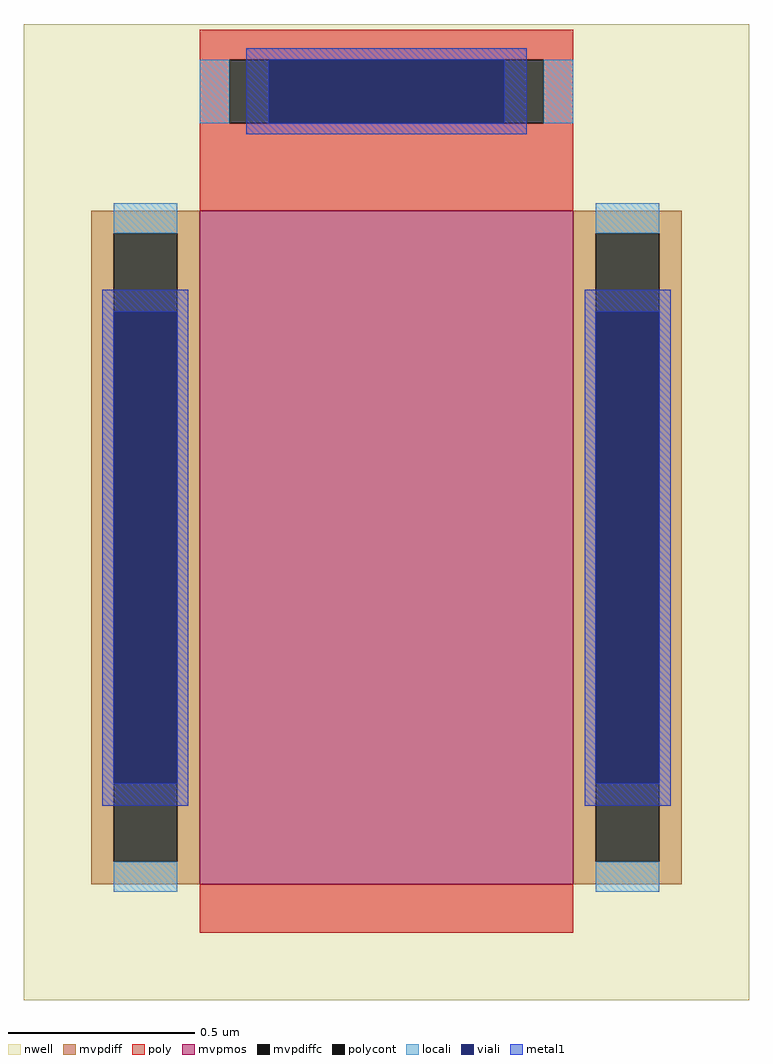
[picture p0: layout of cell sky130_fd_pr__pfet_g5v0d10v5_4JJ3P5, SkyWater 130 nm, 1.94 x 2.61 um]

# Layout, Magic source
magic
tech sky130A
magscale 1 2
<< nwell >>
rect -194 -278 194 244
<< mvpmos >>
rect -100 -216 100 144
<< mvpdiff >>
rect -158 132 -100 144
rect -158 -204 -146 132
rect -112 -204 -100 132
rect -158 -216 -100 -204
rect 100 132 158 144
rect 100 -204 112 132
rect 146 -204 158 132
rect 100 -216 158 -204
<< mvpdiffc >>
rect -146 -204 -112 132
rect 112 -204 146 132
<< poly >>
rect -100 225 100 241
rect -100 191 -84 225
rect 84 191 100 225
rect -100 144 100 191
rect -100 -242 100 -216
<< polycont >>
rect -84 191 84 225
<< locali >>
rect -100 191 -84 225
rect 84 191 100 225
rect -146 132 -112 148
rect -146 -220 -112 -204
rect 112 132 146 148
rect 112 -220 146 -204
<< viali >>
rect -63 191 63 225
rect -146 -162 -112 90
rect 112 -162 146 90
<< metal1 >>
rect -75 225 75 231
rect -75 191 -63 225
rect 63 191 75 225
rect -75 185 75 191
rect -152 90 -106 102
rect -152 -162 -146 90
rect -112 -162 -106 90
rect -152 -174 -106 -162
rect 106 90 152 102
rect 106 -162 112 90
rect 146 -162 152 90
rect 106 -174 152 -162
<< properties >>
string gencell sky130_fd_pr__pfet_g5v0d10v5
string library sky130
string parameters w 1.8 l 1 m 1 nf 1 diffcov 100 polycov 100 guard 0 glc 1 grc 1 gtc 1 gbc 1 tbcov 100 rlcov 100 topc 1 botc 0 poverlap 0 doverlap 1 lmin 0.50 wmin 0.42 compatible {sky130_fd_pr__pfet_01v8  sky130_fd_pr__pfet_01v8_lvt sky130_fd_pr__pfet_01v8_hvt  sky130_fd_pr__pfet_g5v0d10v5} full_metal 1 viasrc 75 viadrn 75 viagate 75 viagb 0 viagr 0 viagl 0 viagt 0
<< end >>
